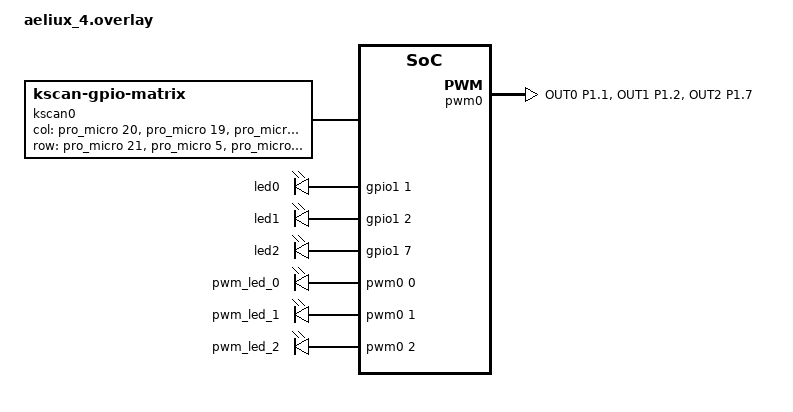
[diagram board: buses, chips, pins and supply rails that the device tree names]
#include <input/processors.dtsi>
#include <dt-bindings/zmk/input_transform.h>
#include <dt-bindings/zmk/keys.h>
#include <dt-bindings/led/led.h>
#include <zephyr/dt-bindings/input/input-event-codes.h>
#include "aeliux_4.dtsi"

/ {
    kscan0: kscan {
        compatible = "zmk,kscan-gpio-matrix";
        diode-direction = "col2row";
        wakeup-source;
        col-gpios
            = <&pro_micro 20 (GPIO_ACTIVE_HIGH)> // COL0
            , <&pro_micro 19 (GPIO_ACTIVE_HIGH)> // COL1
            , <&pro_micro 18 (GPIO_ACTIVE_HIGH)> // COL2
            , <&pro_micro 15 (GPIO_ACTIVE_HIGH)> // COL3
            , <&pro_micro 16 (GPIO_ACTIVE_HIGH)> // COL4
            , <&pro_micro 14 (GPIO_ACTIVE_HIGH)> // COL5
            , <&pro_micro 10 (GPIO_ACTIVE_HIGH)> // COL6
            , <&pro_micro 7 (GPIO_ACTIVE_HIGH)> // COL7
            , <&pro_micro 6 (GPIO_ACTIVE_HIGH)> // COL8
            , <&pro_micro 2 (GPIO_ACTIVE_HIGH)> // COL9
            , <&pro_micro 0 (GPIO_ACTIVE_HIGH)> // COL10
            , <&pro_micro 1 (GPIO_ACTIVE_HIGH)> // COL11
            ;
        row-gpios
            = <&pro_micro 21 (GPIO_ACTIVE_HIGH | GPIO_PULL_DOWN)> // ROW0
            , <&pro_micro 5 (GPIO_ACTIVE_HIGH | GPIO_PULL_DOWN)> // ROW1
            , <&pro_micro 4 (GPIO_ACTIVE_HIGH | GPIO_PULL_DOWN)> // ROW2
            , <&pro_micro 3 (GPIO_ACTIVE_HIGH | GPIO_PULL_DOWN)> // ROW3
            ;
    };

    aliases {
        led-red = &led0; 
        led-blue = &led1;
        led-green = &led2;
    };

    leds {
        compatible = "gpio-leds";
        status = "okay";
        led0: led_0 {
            gpios = <&gpio1 1 (GPIO_ACTIVE_HIGH)>;  // red LED, connected to P1.01
        };
        led1: led_1 {
            gpios = <&gpio1 2 (GPIO_ACTIVE_HIGH)>;  // blue LED, connected to P1.02
        };
        led2: led_2 {
            gpios = <&gpio1 7 (GPIO_ACTIVE_HIGH)>;  // green LED, connected to P1.07
        };
    };
};

&pinctrl {
    // backlight
    pwm0_default: pwm0_default {
        group1 {
            psels = <NRF_PSEL(PWM_OUT0, 1, 1)>,
                    <NRF_PSEL(PWM_OUT1, 1, 2)>,
                    <NRF_PSEL(PWM_OUT2, 1, 7)>;
        };
    };
    pwm0_sleep: pwm0_sleep {
        group1 {
            psels = <NRF_PSEL(PWM_OUT0, 1, 1)>,
                    <NRF_PSEL(PWM_OUT1, 1, 2)>,
                    <NRF_PSEL(PWM_OUT2, 1, 7)>;
            low-power-enable;
        };
    };
};

/ {
    backlight: pwmleds {
        compatible = "pwm-leds";
        label = "Backlight LEDs";
        pwm_led_0: pwm_led_0 {
            pwms = <&pwm0 0 PWM_MSEC(10) PWM_POLARITY_NORMAL>;
        };
        pwm_led_1: pwm_led_1 {
            pwms = <&pwm0 1 PWM_MSEC(10) PWM_POLARITY_NORMAL>;
        };
        pwm_led_2: pwm_led_2 {
            pwms = <&pwm0 2 PWM_MSEC(10) PWM_POLARITY_NORMAL>;
        };
    };
};

&pwm0 {
    status = "okay";
    pinctrl-0 = <&pwm0_default>;
    pinctrl-1 = <&pwm0_sleep>;
    pinctrl-names = "default", "sleep";
};

/ {
	chosen {
		 zmk,backlight = &backlight;
	};
};
